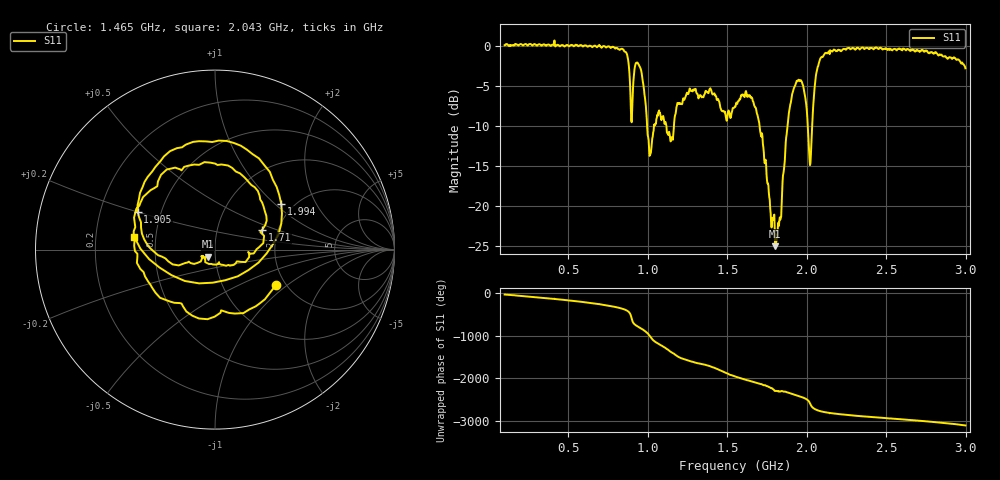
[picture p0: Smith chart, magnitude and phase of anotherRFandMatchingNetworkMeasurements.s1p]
# HZ S RI R 50
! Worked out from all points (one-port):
!   1009 points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, 100 MHz to 2.997 GHz, reference 50 ohm
!   lowest |S11| = -25.0 dB at 1.801 GHz (marker M1), VSWR 1.12, Z = 46 - j3.6 ohm
!   |S11| at or under -10 dB: 995.9 MHz to 1.039 GHz (43.33 MHz wide, 4.26 % of centre); 1.117 GHz to 1.165 GHz (47.53 MHz wide, 4.17 % of centre); 1.703 GHz to 1.879 GHz (175.7 MHz wide, 9.81 % of centre)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
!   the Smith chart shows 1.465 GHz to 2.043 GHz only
!   S11 on the Smith chart (normalised r, x): 1.465 GHz: 1.78, -0.83; 1.71 GHz: 1.65, +0.39; 1.905 GHz: 0.37, +0.20; 1.994 GHz: 1.72, +1.10; 2.043 GHz: 0.38, +0.07
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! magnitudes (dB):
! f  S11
! 100 MHz  0.0
! 462.1 MHz  0.1
! 824.3 MHz  -0.5
! 867.4 MHz  -1.0
! 899 MHz  -9.6
! 924.9 MHz  -2.2
! 950.7 MHz  -2.7
! 1.014 GHz  -13.6
! 1.069 GHz  -8.2
! 1.149 GHz  -11.4
! 1.186 GHz  -7.2
! 1.385 GHz  -5.7
! 1.465 GHz  -8.1
! 1.549 GHz  -7.6
! 1.643 GHz  -6.3
! 1.71 GHz  -10.9
! 1.801 GHz  -25.0
! 1.827 GHz  -21.8
! 1.905 GHz  -6.4
! 1.911 GHz  -5.9
! 1.96 GHz  -4.3
! 1.994 GHz  -7.0
! 2.02 GHz  -14.9
! 2.043 GHz  -6.8
! 2.095 GHz  -1.4
! 2.273 GHz  -0.5
! 2.635 GHz  -0.5
! 2.997 GHz  -2.8
